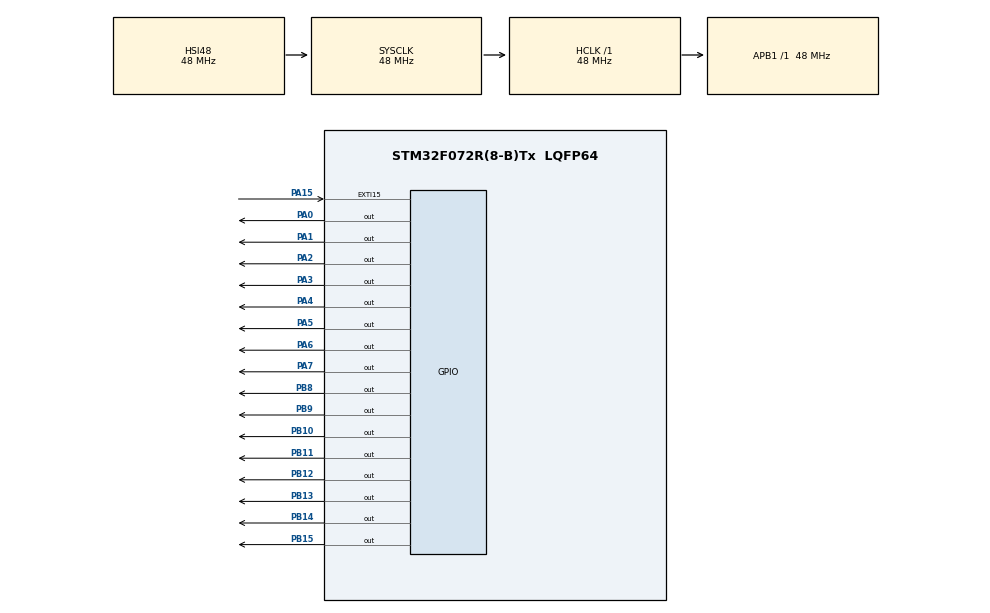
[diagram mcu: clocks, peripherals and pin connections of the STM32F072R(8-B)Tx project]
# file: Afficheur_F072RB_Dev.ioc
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Mcu.Family=STM32F0
Mcu.Name=STM32F072R(8-B)Tx
Mcu.Package=LQFP64
NVIC.EXTI4_15_IRQn=true\:0\:0\:false\:false\:true\:true
NVIC.TIM3_IRQn=true\:0\:0\:false\:false\:true\:true
PA0.Signal=GPIO_Output
PA1.Signal=GPIO_Output
PA15.Signal=GPXTI15
PA2.Signal=GPIO_Output
PA3.Signal=GPIO_Output
PA4.Signal=GPIO_Output
PA5.Signal=GPIO_Output
PA6.Signal=GPIO_Output
PA7.Signal=GPIO_Output
PB10.Signal=GPIO_Output
PB11.Signal=GPIO_Output
PB12.Signal=GPIO_Output
PB13.Signal=GPIO_Output
PB14.Signal=GPIO_Output
PB15.Signal=GPIO_Output
PB8.Signal=GPIO_Output
PB9.Signal=GPIO_Output
ProjectManager.HeapSize=0x200
ProjectManager.StackSize=0x400
ProjectManager.TargetToolchain=TrueSTUDIO
RCC.AHBFreq_Value=48000000
RCC.APB1Freq_Value=48000000
RCC.APB1TimFreq_Value=48000000
RCC.HCLKFreq_Value=48000000
RCC.PLLSourceVirtual=RCC_PLLSOURCE_HSI48
RCC.SYSCLKFreq_VALUE=48000000
RCC.SYSCLKSource=RCC_SYSCLKSOURCE_HSI48
TIM3.Period=347
TIM3.Prescaler=48
VP_TIM3_VS_ClockSourceINT.Mode=Internal
board=Afficheur_F072RB_Dev

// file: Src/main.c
/**
  ******************************************************************************
  * @file           : main.c
  * @brief          : Main program body
  ******************************************************************************
  ** This notice applies to any and all portions of this file
  * that are not between comment pairs USER CODE BEGIN and
  * USER CODE END. Other portions of this file, whether
  * inserted by the user or by software development tools
  * are owned by their respective copyright owners.
  *
  * COPYRIGHT(c) 2020 STMicroelectronics
  *
  * Redistribution and use in source and binary forms, with or without modification,
  * are permitted provided that the following conditions are met:
  *   1. Redistributions of source code must retain the above copyright notice,
  *      this list of conditions and the following disclaimer.
  *   2. Redistributions in binary form must reproduce the above copyright notice,
  *      this list of conditions and the following disclaimer in the documentation
  *      and/or other materials provided with the distribution.
  *   3. Neither the name of STMicroelectronics nor the names of its contributors
  *      may be used to endorse or promote products derived from this software
  *      without specific prior written permission.
  *
  * THIS SOFTWARE IS PROVIDED BY THE COPYRIGHT HOLDERS AND CONTRIBUTORS "AS IS"
  * AND ANY EXPRESS OR IMPLIED WARRANTIES, INCLUDING, BUT NOT LIMITED TO, THE
  * IMPLIED WARRANTIES OF MERCHANTABILITY AND FITNESS FOR A PARTICULAR PURPOSE ARE
  * DISCLAIMED. IN NO EVENT SHALL THE COPYRIGHT HOLDER OR CONTRIBUTORS BE LIABLE
  * FOR ANY DIRECT, INDIRECT, INCIDENTAL, SPECIAL, EXEMPLARY, OR CONSEQUENTIAL
  * DAMAGES (INCLUDING, BUT NOT LIMITED TO, PROCUREMENT OF SUBSTITUTE GOODS OR
  * SERVICES; LOSS OF USE, DATA, OR PROFITS; OR BUSINESS INTERRUPTION) HOWEVER
  * CAUSED AND ON ANY THEORY OF LIABILITY, WHETHER IN CONTRACT, STRICT LIABILITY,
  * OR TORT (INCLUDING NEGLIGENCE OR OTHERWISE) ARISING IN ANY WAY OUT OF THE USE
  * OF THIS SOFTWARE, EVEN IF ADVISED OF THE POSSIBILITY OF SUCH DAMAGE.
  *
  ******************************************************************************
  */
#include "main.h"
#include "stm32f0xx_hal.h"

/* USER CODE BEGIN Includes */
#include "Amadou_Charles_Functions.h"
/* USER CODE END Includes */

TIM_HandleTypeDef htim3;

/* USER CODE BEGIN PV */
/* Private variables ---------------------------------------------------------*/
volatile int flag_fourche = 1;
volatile int flag_Duree_Pixel = 0;

unsigned char lettreA[6] = {0x80, 0xF6, 0xF6, 0xF6, 0x80, 0xFF};

// Declaration d'un tableau de char de A а Z
unsigned char lettre[26][6] = { {0x80, 0xF6, 0xF6, 0xF6, 0x80, 0xFF},// A
								{0x00, 0x7F, 0x7F, 0x7F, 0x2F, 0xFF},// B
								{0x00, 0x7E, 0x7E, 0x7E, 0x00, 0xFF},// C
								{0x00, 0x7E, 0x7E, 0x2C, 0xCD, 0xFF},// D
								{0x00, 0x6E, 0x6E, 0x6E, 0x10, 0xFF},// E
								{0x80, 0xEE, 0xEE, 0xEE, 0x88, 0xFF},// F
								{0x00, 0x7E, 0x66, 0x66, 0x0A, 0xFF},// G
								{0x00, 0x76, 0x76, 0x76, 0x46, 0xFF},// H
								{0x7E, 0x7E, 0x00, 0x7E, 0x7E, 0xFF},// I
								{0xFF, 0xFE, 0x00, 0x7E, 0x1E, 0xFF},// J
								{0x00, 0xE7, 0xCB, 0xFD, 0x7E, 0xFF},// K
								{0x00, 0x7F, 0x7F, 0x7F, 0x2F, 0xFF},// L
								{0x00, 0xFD, 0xFB, 0xFD, 0x00, 0xFF},// M
								{0x00, 0xFD, 0xFB, 0xF7, 0x00, 0xFF},// N
								{0x00, 0x7E, 0x7E, 0x7E, 0x00, 0xFF},// O
								{0x00, 0x7A, 0x7A, 0x7A, 0xF8, 0xFF},// P
								{0xF8, 0x7A, 0x7A, 0x7A, 0x00, 0xFF},// Q
								{0x00, 0xEE, 0xF5, 0xDB, 0xFF, 0xFF},// R
								{0x70, 0x76, 0x76, 0x76, 0x06, 0xFF},// S
								{0xFC, 0xFE, 0x00, 0xFE, 0xFC, 0xFF},// T
								{0x00, 0x7F, 0x7F, 0x7F, 0x1E, 0xFF},// U
								{0xC0, 0xBF, 0x7F, 0xBF, 0xC0, 0xFF},// V
								{0x00, 0xBF, 0xDF, 0xBF, 0x00, 0xFF},// W
								{0x7E, 0xBD, 0x00, 0xBD, 0x7E, 0xFF},// X
								{0xFE, 0xFD, 0x02, 0xFD, 0xFE, 0xFF},// Y
								{0x7E, 0x2E, 0x42, 0x7C, 0x7E, 0xFF},// Z
							  };

// Declaration d'un caractиre vide
unsigned char vide[6] = {0xFF, 0xFF, 0xFF, 0xFF, 0xFF, 0xFF};
/* USER CODE END PV */

void SystemClock_Config(void);
static void MX_GPIO_Init(void);
static void MX_TIM3_Init(void);

/* USER CODE BEGIN PFP */
/* Private function prototypes -----------------------------------------------*/

/* USER CODE END PFP */

int main(void)
{

  /* MCU Configuration----------------------------------------------------------*/

  /* Reset of all peripherals, Initializes the Flash interface and the Systick. */
  HAL_Init();

  /* Configure the system clock */
  SystemClock_Config();

  /* Initialize all configured peripherals */
  MX_GPIO_Init();
  MX_TIM3_Init();
  /* USER CODE BEGIN 2 */

  char mot[] = "CAJ";
  volatile int nb_lettre = (sizeof(mot)/sizeof(char))-1;
  volatile int count_indice_lettre = 0;
  volatile int count_lettre = 0;

  /* USER CODE END 2 */

  /* Infinite loop */
  /* USER CODE BEGIN WHILE */
  while (1)
  {

	  if (flag_fourche == 1){

		flag_fourche = 0;

		/*volatile int tailleMot = sizeof(mot)/sizeof(char);

		// Afficher un mot de 1 а 60 caractиres

		volatile int i;
		int nombreCaractere = 0;
		for (i = 0; i < tailleMot; i++){
			if(mot[i] != ' '){
				if (0 <= nombreCaractere && nombreCaractere <= 30){
					afficheChar(GPIOA, 0, &(lettre[mot[i] - 65][0]));
					nombreCaractere++;
				}
				else if (31 <= nombreCaractere && nombreCaractere <= 60){
					afficheChar(GPIOB, 8, &(lettre[mot[i] - 65][0]));
					nombreCaractere++;
				}
			}
			else{
				if (0 <= nombreCaractere && nombreCaractere <= 30){
					afficheChar(GPIOA, 0, vide);
				}
				else if (31 <= nombreCaractere && nombreCaractere <= 60){
					afficheChar(GPIOB, 8, vide);
				}

			}
		}*/

		//afficheChar(GPIOA, 0, &lettre[0][0]);

		HAL_TIM_Base_Start_IT(&htim3);
		count_lettre = 0;

	  }

	  if (flag_Duree_Pixel == 1){

		  flag_Duree_Pixel = 0;
		  affiche_Nchar_timer(GPIOA, 0, mot, &count_indice_lettre, &count_lettre, &htim3, nb_lettre);
		  GPIOA->ODR;

	  }

  /* USER CODE END WHILE */

  }

}

void SystemClock_Config(void)
{

  RCC_OscInitTypeDef RCC_OscInitStruct;
  RCC_ClkInitTypeDef RCC_ClkInitStruct;

    /**Initializes the CPU, AHB and APB busses clocks
    */
  RCC_OscInitStruct.OscillatorType = RCC_OSCILLATORTYPE_HSI48;
  RCC_OscInitStruct.HSI48State = RCC_HSI48_ON;
  RCC_OscInitStruct.PLL.PLLState = RCC_PLL_NONE;
  if (HAL_RCC_OscConfig(&RCC_OscInitStruct) != HAL_OK)
  {
    _Error_Handler(__FILE__, __LINE__);
  }

    /**Initializes the CPU, AHB and APB busses clocks
    */
  RCC_ClkInitStruct.ClockType = RCC_CLOCKTYPE_HCLK|RCC_CLOCKTYPE_SYSCLK
                              |RCC_CLOCKTYPE_PCLK1;
  RCC_ClkInitStruct.SYSCLKSource = RCC_SYSCLKSOURCE_HSI48;
  RCC_ClkInitStruct.AHBCLKDivider = RCC_SYSCLK_DIV1;
  RCC_ClkInitStruct.APB1CLKDivider = RCC_HCLK_DIV1;

  if (HAL_RCC_ClockConfig(&RCC_ClkInitStruct, FLASH_LATENCY_1) != HAL_OK)
  {
    _Error_Handler(__FILE__, __LINE__);
  }

    /**Configure the Systick interrupt time
    */
  HAL_SYSTICK_Config(HAL_RCC_GetHCLKFreq()/1000);

    /**Configure the Systick
    */
  HAL_SYSTICK_CLKSourceConfig(SYSTICK_CLKSOURCE_HCLK);

  /* SysTick_IRQn interrupt configuration */
  HAL_NVIC_SetPriority(SysTick_IRQn, 0, 0);
}

/* TIM3 init function */
static void MX_TIM3_Init(void)
{

  TIM_ClockConfigTypeDef sClockSourceConfig;
  TIM_MasterConfigTypeDef sMasterConfig;

  htim3.Instance = TIM3;
  htim3.Init.Prescaler = 48;
  htim3.Init.CounterMode = TIM_COUNTERMODE_UP;
  htim3.Init.Period = 347;
  htim3.Init.ClockDivision = TIM_CLOCKDIVISION_DIV1;
  htim3.Init.AutoReloadPreload = TIM_AUTORELOAD_PRELOAD_DISABLE;
  if (HAL_TIM_Base_Init(&htim3) != HAL_OK)
  {
    _Error_Handler(__FILE__, __LINE__);
  }

  sClockSourceConfig.ClockSource = TIM_CLOCKSOURCE_INTERNAL;
  if (HAL_TIM_ConfigClockSource(&htim3, &sClockSourceConfig) != HAL_OK)
  {
    _Error_Handler(__FILE__, __LINE__);
  }

  sMasterConfig.MasterOutputTrigger = TIM_TRGO_RESET;
  sMasterConfig.MasterSlaveMode = TIM_MASTERSLAVEMODE_DISABLE;
  if (HAL_TIMEx_MasterConfigSynchronization(&htim3, &sMasterConfig) != HAL_OK)
  {
    _Error_Handler(__FILE__, __LINE__);
  }

}

/** Configure pins as
        * Analog
        * Input
        * Output
        * EVENT_OUT
        * EXTI
*/
static void MX_GPIO_Init(void)
{

  GPIO_InitTypeDef GPIO_InitStruct;

  /* GPIO Ports Clock Enable */
  __HAL_RCC_GPIOA_CLK_ENABLE();
  __HAL_RCC_GPIOB_CLK_ENABLE();

  /*Configure GPIO pin Output Level */
  HAL_GPIO_WritePin(GPIOA, GPIO_PIN_0|GPIO_PIN_1|GPIO_PIN_2|GPIO_PIN_3
                          |GPIO_PIN_4|GPIO_PIN_5|GPIO_PIN_6|GPIO_PIN_7, GPIO_PIN_RESET);

  /*Configure GPIO pin Output Level */
  HAL_GPIO_WritePin(GPIOB, GPIO_PIN_10|GPIO_PIN_11|GPIO_PIN_12|GPIO_PIN_13
                          |GPIO_PIN_14|GPIO_PIN_15|GPIO_PIN_8|GPIO_PIN_9, GPIO_PIN_RESET);

  /*Configure GPIO pins : PA0 PA1 PA2 PA3
                           PA4 PA5 PA6 PA7 */
  GPIO_InitStruct.Pin = GPIO_PIN_0|GPIO_PIN_1|GPIO_PIN_2|GPIO_PIN_3
                          |GPIO_PIN_4|GPIO_PIN_5|GPIO_PIN_6|GPIO_PIN_7;
  GPIO_InitStruct.Mode = GPIO_MODE_OUTPUT_PP;
  GPIO_InitStruct.Pull = GPIO_NOPULL;
  GPIO_InitStruct.Speed = GPIO_SPEED_FREQ_LOW;
  HAL_GPIO_Init(GPIOA, &GPIO_InitStruct);

  /*Configure GPIO pins : PB10 PB11 PB12 PB13
                           PB14 PB15 PB8 PB9 */
  GPIO_InitStruct.Pin = GPIO_PIN_10|GPIO_PIN_11|GPIO_PIN_12|GPIO_PIN_13
                          |GPIO_PIN_14|GPIO_PIN_15|GPIO_PIN_8|GPIO_PIN_9;
  GPIO_InitStruct.Mode = GPIO_MODE_OUTPUT_PP;
  GPIO_InitStruct.Pull = GPIO_NOPULL;
  GPIO_InitStruct.Speed = GPIO_SPEED_FREQ_LOW;
  HAL_GPIO_Init(GPIOB, &GPIO_InitStruct);

  /*Configure GPIO pin : PA15 */
  GPIO_InitStruct.Pin = GPIO_PIN_15;
  GPIO_InitStruct.Mode = GPIO_MODE_IT_RISING;
  GPIO_InitStruct.Pull = GPIO_NOPULL;
  HAL_GPIO_Init(GPIOA, &GPIO_InitStruct);

  /* EXTI interrupt init*/
  HAL_NVIC_SetPriority(EXTI4_15_IRQn, 0, 0);
  HAL_NVIC_EnableIRQ(EXTI4_15_IRQn);

}

/* USER CODE BEGIN 4 */
void HAL_GPIO_EXTI_Callback(uint16_t GPIO_Pin)
{
	if(GPIO_Pin == GPIO_PIN_15){
		flag_fourche = 1;
	}

}

void HAL_TIM_PeriodElapsedCallback(TIM_HandleTypeDef *htim){
	if(htim->Instance==TIM3){
		flag_Duree_Pixel = 1;
		HAL_TIM_Base_Stop_IT(htim);
	}
}
/* USER CODE END 4 */

void _Error_Handler(char *file, int line)
{
}

/************************ (C) COPYRIGHT STMicroelectronics *****END OF FILE****/
